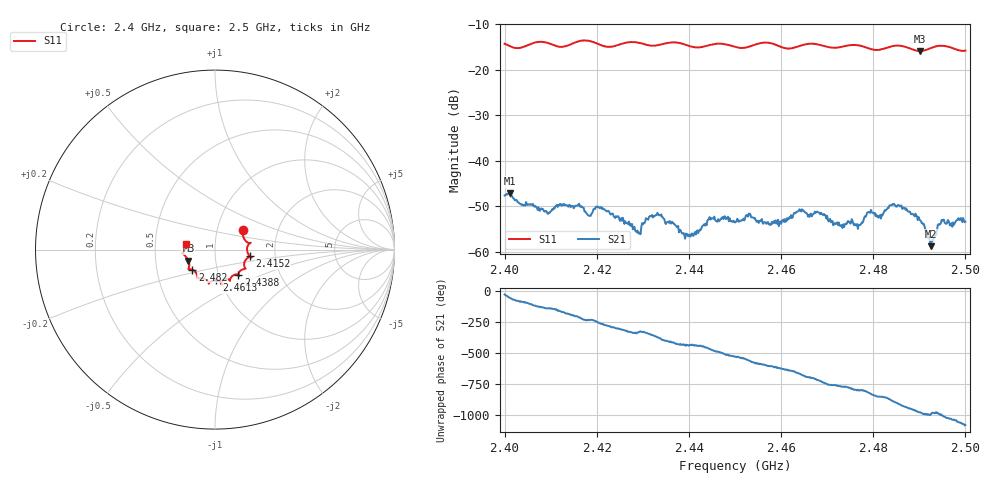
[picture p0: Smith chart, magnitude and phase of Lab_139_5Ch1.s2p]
# Hz S RI R 50
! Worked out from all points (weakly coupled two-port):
!   601 points, 2.4 GHz to 2.5 GHz, reference 50 ohm
!   highest |S21| = -47.21 dB at 2.4012 GHz (marker M1); lowest = -58.8 dB at 2.4925 GHz (marker M2)
!   lowest |S11| = -15.9 dB at 2.4902 GHz (marker M3), VSWR 1.38, Z = 36.8 - j4.66 ohm
!   |S11| at or under -10 dB: start of sweep to end of sweep
!   S12 and S22 are empty: the file has one direction only
!   S11 on the Smith chart (normalised r, x): 2.4 GHz: 1.33, +0.31; 2.4152 GHz: 1.48, -0.11; 2.4388 GHz: 1.24, -0.36; 2.4613 GHz: 0.96, -0.34; 2.482 GHz: 0.76, -0.17; 2.5 GHz: 0.72, +0.05
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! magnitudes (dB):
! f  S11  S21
! 2.4 GHz  -14.3  -47.7
! 2.4012 GHz  -14.8  -47.2
! 2.4093 GHz  -14.1  -51.7
! 2.4152 GHz  -14.1  -50.2
! 2.4167 GHz  -13.6  -50.2
! 2.4183 GHz  -13.7  -52.1
! 2.4213 GHz  -14.8  -50.5
! 2.429 GHz  -14.0  -55.9
! 2.4333 GHz  -14.6  -51.7
! 2.4388 GHz  -14.4  -55.9
! 2.445 GHz  -14.5  -52.7
! 2.45 GHz  -15.0  -53.6
! 2.4613 GHz  -15.3  -52.6
! 2.4642 GHz  -14.7  -50.9
! 2.4667 GHz  -14.3  -52.3
! 2.4732 GHz  -15.0  -54.2
! 2.482 GHz  -15.5  -52.0
! 2.4833 GHz  -15.0  -50.4
! 2.4902 GHz  -15.9  -53.1
! 2.4925 GHz  -15.2  -58.8
! 2.4948 GHz  -14.7  -53.1
! 2.5 GHz  -15.8  -53.4
